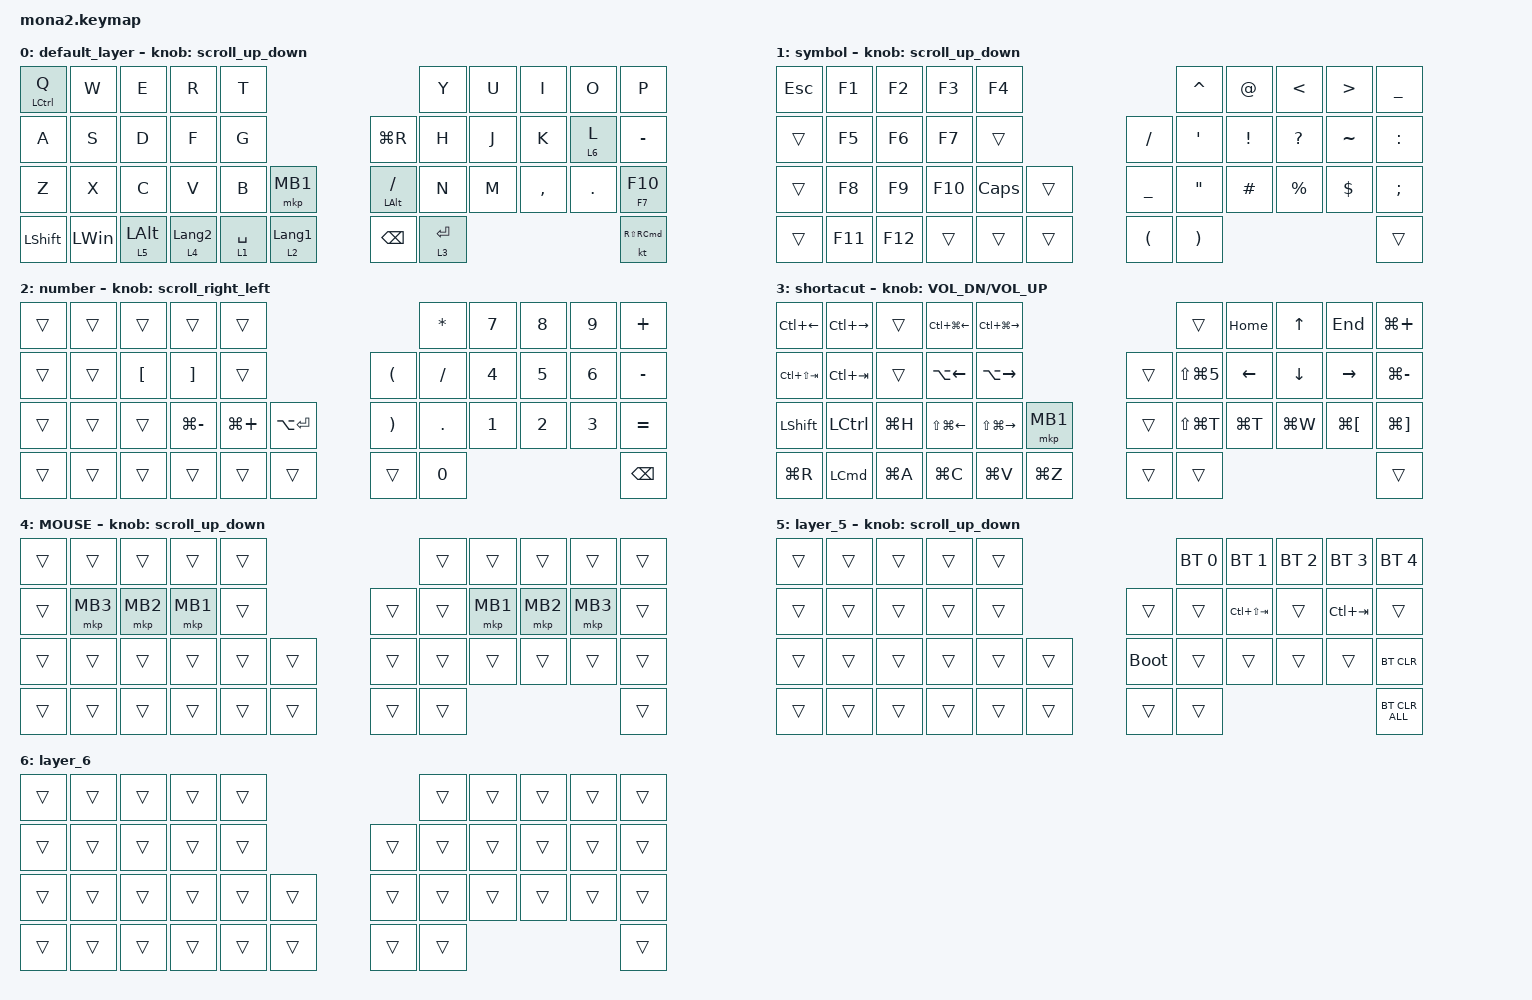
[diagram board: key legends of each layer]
#include <input/processors.dtsi>
#include <dt-bindings/zmk/input_transform.h>
#include <zephyr/dt-bindings/input/input-event-codes.h>
#include <behaviors.dtsi>
#include <dt-bindings/zmk/bt.h>
#include <dt-bindings/zmk/keys.h>
#include <dt-bindings/zmk/pointing.h>

#define ZMK_POINTING_DEFAULT_SCRL_VAL 100
#define MOUSE 5
#define SCROLL 6

&mt {
    flavor = "balanced";
    quick-tap-ms = <0>;
};

&lt {
    quick-tap-ms = <300>;
    flavor = "balanced";
};

/ {
    combos {
        compatible = "zmk,combos";

        ESC_combo {
            bindings = <&kp DEL>;
            key-positions = <39 38>;
        };

        tab {
            bindings = <&kp TAB>;
            key-positions = <11 12>;
        };

        backspacecombo {
            bindings = <&kp BACKSPACE>;
            key-positions = <19 20>;
        };

        click-right {
            bindings = <&mkp MB1>;
            key-positions = <17 18>;
        };

        click-left {
            bindings = <&mkp MB2>;
            key-positions = <18 19>;
        };

        alt {
            bindings = <&kp LEFT_ALT>;
            key-positions = <33 34>;
        };

        esc {
            bindings = <&kp ESCAPE>;
            key-positions = <0 1 2>;
        };

        scroll {
            bindings = <&lt 3 LEFT_COMMAND>;
            key-positions = <18 19 17>;
        };

        scroll2 {
            bindings = <&lt 3 LEFT_COMMAND>;
            key-positions = <18 19 20>;
        };

        mb3 {
            bindings = <&mkp MB3>;
            key-positions = <26 40>;
        };
    };

    macros {
        to_layer_0: to_layer_0 {
            compatible = "zmk,behavior-macro-one-param";
            #binding-cells = <1>;
            bindings = <&to 0 &macro_param_1to1 &kp MACRO_PLACEHOLDER>;
            label = "TO_LAYER_0";
        };
    };

    behaviors {
        lt_to_layer_0: lt_to_layer_0 {
            compatible = "zmk,behavior-hold-tap";
            label = "LAYER_TAP_TO_0";
            bindings = <&mo>, <&to_layer_0>;

            #binding-cells = <2>;
            tapping-term-ms = <200>;
        };

        scroll_up_down: mouse_wheel_up_down {
            compatible = "zmk,behavior-sensor-rotate";
            #sensor-binding-cells = <0>;
            bindings = <&msc SCRL_DOWN>, <&msc SCRL_UP>;

            tap-ms = <20>;
        };

        scroll_right_left: mouse_wheel_right_left {
            compatible = "zmk,behavior-sensor-rotate";
            #sensor-binding-cells = <0>;
            bindings = <&msc SCRL_LEFT>, <&msc SCRL_RIGHT>;

            tap-ms = <20>;
        };
    };

    keymap {
        compatible = "zmk,keymap";

        default_layer {
            bindings = <
&mt LEFT_CONTROL Q  &kp W         &kp E       &kp R             &kp T                                                       &kp Y        &kp U  &kp I      &kp O    &kp P
&kp A               &kp S         &kp D       &kp F             &kp G                                       &kp LG(R)       &kp H        &kp J  &kp K      &lt 6 L  &kp MINUS
&kp Z               &kp X         &kp C       &kp V             &kp B        &mkp MB1                       &mt LALT SLASH  &kp N        &kp M  &kp COMMA  &kp DOT  &mt F7 F10
&kp LEFT_SHIFT      &kp LEFT_WIN  &lt 5 LALT  &lt 4 LANGUAGE_2  &lt 1 SPACE  &lt_to_layer_0 2 LANGUAGE_1    &kp BACKSPACE   &lt 3 ENTER                             &kt RS(RIGHT_COMMAND)
            >;

            sensor-bindings = <&scroll_up_down>;
        };

        symbol {
            bindings = <
&kp ESCAPE  &kp F1   &kp F2   &kp F3   &kp F4                                    &kp CARET              &kp AT_SIGN      &kp LESS_THAN  &kp GREATER_THAN  &kp UNDERSCORE
&trans      &kp F5   &kp F6   &kp F7   &trans              &kp SLASH             &kp SQT                &kp EXCLAMATION  &kp QUESTION   &kp TILDE         &kp COLON
&trans      &kp F8   &kp F9   &kp F10  &kp CAPS  &trans    &kp UNDER             &kp DOUBLE_QUOTES      &kp HASH         &kp PERCENT    &kp DOLLAR        &kp SEMICOLON
&trans      &kp F11  &kp F12  &trans   &trans    &trans    &kp LEFT_PARENTHESIS  &kp RIGHT_PARENTHESIS                                                    &trans
            >;

            sensor-bindings = <&scroll_up_down>;
        };

        number {
            bindings = <
&trans  &trans  &trans            &trans             &trans                                                &kp ASTRK  &kp NUMBER_7  &kp NUMBER_8  &kp NUMBER_9  &kp PLUS
&trans  &trans  &kp LEFT_BRACKET  &kp RIGHT_BRACKET  &trans                         &kp LEFT_PARENTHESIS   &kp SLASH  &kp NUMBER_4  &kp N5        &kp NUMBER_6  &kp MINUS
&trans  &trans  &trans            &kp LG(MINUS)      &kp LG(PLUS)  &kp LA(ENTER)    &kp RIGHT_PARENTHESIS  &kp DOT    &kp NUMBER_1  &kp NUMBER_2  &kp NUMBER_3  &kp EQUAL
&trans  &trans  &trans            &trans             &trans        &trans           &trans                 &kp N0                                               &kp BACKSPACE
            >;

            sensor-bindings = <&scroll_right_left>;
        };

        shortacut {
            bindings = <
&kp LC(LEFT_ARROW)  &kp LC(RIGHT)     &trans     &kp LC(LG(LEFT_ARROW))  &kp LC(LG(RIGHT_ARROW))                       &trans          &kp HOME        &kp UP_ARROW    &kp END               &kp LG(PLUS)
&kp LC(LS(TAB))     &kp LC(TAB)       &trans     &kp LA(LEFT_ARROW)      &kp LA(RIGHT)                         &trans  &kp LS(LG(N5))  &kp LEFT_ARROW  &kp DOWN_ARROW  &kp RIGHT_ARROW       &kp LG(MINUS)
&kp LEFT_SHIFT      &kp LCTRL         &kp LG(H)  &kp LS(LG(LEFT))        &kp LS(LG(RIGHT))        &mkp MB1     &trans  &kp LS(LG(T))   &kp LG(T)       &kp LG(W)       &kp LG(LEFT_BRACKET)  &kp LG(RIGHT_BRACKET)
&kp LG(R)           &kp LEFT_COMMAND  &kp LG(A)  &kp LG(C)               &kp LG(V)                &kp LG(Z)    &trans  &trans                                                                &trans
            >;

            sensor-bindings = <&inc_dec_kp C_VOL_DN C_VOL_UP>;
        };

        MOUSE {
            bindings = <
&trans  &trans    &trans    &trans    &trans                    &trans  &trans    &trans    &trans    &trans
&trans  &mkp MB3  &mkp MB2  &mkp MB1  &trans            &trans  &trans  &mkp MB1  &mkp MB2  &mkp MB3  &trans
&trans  &trans    &trans    &trans    &trans  &trans    &trans  &trans  &trans    &trans    &trans    &trans
&trans  &trans    &trans    &trans    &trans  &trans    &trans  &trans                                &trans
            >;

            sensor-bindings = <&scroll_up_down>;
        };

        layer_5 {
            bindings = <
&trans  &trans  &trans  &trans  &trans                         &bt BT_SEL 0  &bt BT_SEL 1     &bt BT_SEL 2  &bt BT_SEL 3  &bt BT_SEL 4
&trans  &trans  &trans  &trans  &trans            &trans       &trans        &kp LC(LS(TAB))  &trans        &kp LC(TAB)   &trans
&trans  &trans  &trans  &trans  &trans  &trans    &bootloader  &trans        &trans           &trans        &trans        &bt BT_CLR
&trans  &trans  &trans  &trans  &trans  &trans    &trans       &trans                                                     &bt BT_CLR_ALL
            >;

            sensor-bindings = <&scroll_up_down>;
        };

        layer_6 {
            bindings = <
&trans  &trans  &trans  &trans  &trans                    &trans  &trans  &trans  &trans  &trans
&trans  &trans  &trans  &trans  &trans            &trans  &trans  &trans  &trans  &trans  &trans
&trans  &trans  &trans  &trans  &trans  &trans    &trans  &trans  &trans  &trans  &trans  &trans
&trans  &trans  &trans  &trans  &trans  &trans    &trans  &trans                          &trans
            >;
        };
    };
};
